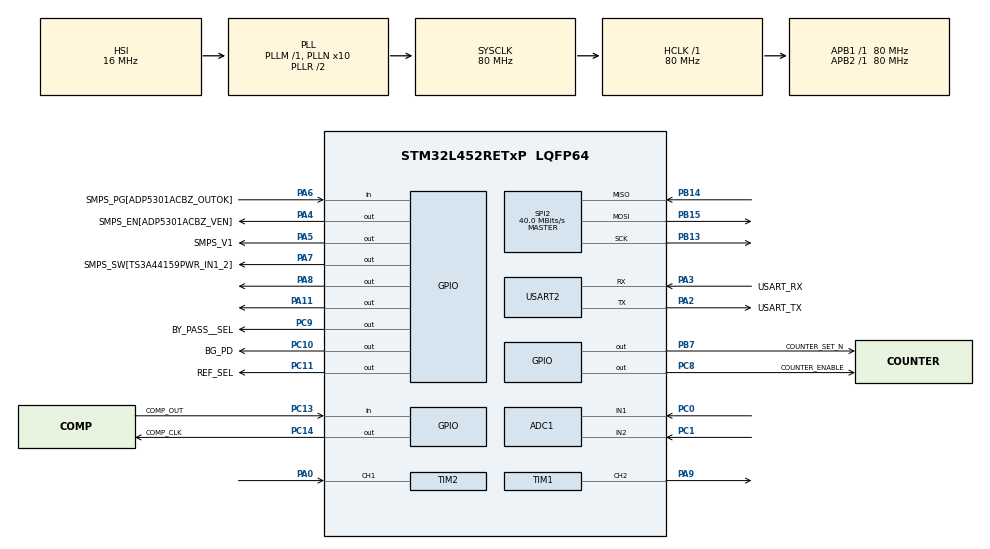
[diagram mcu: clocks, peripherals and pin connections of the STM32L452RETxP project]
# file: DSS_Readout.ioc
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ADC1.Channel-0\#ChannelRegularConversion=ADC_CHANNEL_1
ADC1.Channel-1\#ChannelRegularConversion=ADC_CHANNEL_2
ADC1.ContinuousConvMode=ENABLE
ADC1.DMAContinuousRequests=ENABLE
ADC1.NbrOfConversion=2
ADC1.NbrOfConversionFlag=1
ADC1.OffsetNumber-0\#ChannelRegularConversion=ADC_OFFSET_NONE
ADC1.OffsetNumber-1\#ChannelRegularConversion=ADC_OFFSET_NONE
ADC1.Rank-0\#ChannelRegularConversion=1
ADC1.Rank-1\#ChannelRegularConversion=2
ADC1.SamplingTime-0\#ChannelRegularConversion=ADC_SAMPLETIME_2CYCLES_5
ADC1.SamplingTime-1\#ChannelRegularConversion=ADC_SAMPLETIME_2CYCLES_5
ADC1.master=1
Dma.ADC1.0.Direction=DMA_PERIPH_TO_MEMORY
Dma.ADC1.0.Instance=DMA1_Channel1
Dma.ADC1.0.MemDataAlignment=DMA_MDATAALIGN_HALFWORD
Dma.ADC1.0.MemInc=DMA_MINC_ENABLE
Dma.ADC1.0.Mode=DMA_CIRCULAR
Dma.ADC1.0.PeriphDataAlignment=DMA_PDATAALIGN_HALFWORD
Dma.ADC1.0.PeriphInc=DMA_PINC_DISABLE
Dma.ADC1.0.Priority=DMA_PRIORITY_LOW
Dma.Request0=ADC1
Dma.Request1=TIM2_CH1
Dma.Request2=TIM2_CH2/CH4
Dma.TIM2_CH1.1.Direction=DMA_PERIPH_TO_MEMORY
Dma.TIM2_CH1.1.Instance=DMA1_Channel5
Dma.TIM2_CH1.1.MemDataAlignment=DMA_MDATAALIGN_WORD
Dma.TIM2_CH1.1.MemInc=DMA_MINC_ENABLE
Dma.TIM2_CH1.1.Mode=DMA_CIRCULAR
Dma.TIM2_CH1.1.PeriphDataAlignment=DMA_PDATAALIGN_WORD
Dma.TIM2_CH1.1.PeriphInc=DMA_PINC_DISABLE
Dma.TIM2_CH1.1.Priority=DMA_PRIORITY_LOW
Dma.TIM2_CH2/CH4.2.Direction=DMA_PERIPH_TO_MEMORY
Dma.TIM2_CH2/CH4.2.Instance=DMA1_Channel7
Dma.TIM2_CH2/CH4.2.MemDataAlignment=DMA_MDATAALIGN_WORD
Dma.TIM2_CH2/CH4.2.MemInc=DMA_MINC_ENABLE
Dma.TIM2_CH2/CH4.2.Mode=DMA_CIRCULAR
Dma.TIM2_CH2/CH4.2.PeriphDataAlignment=DMA_PDATAALIGN_WORD
Dma.TIM2_CH2/CH4.2.PeriphInc=DMA_PINC_DISABLE
Dma.TIM2_CH2/CH4.2.Priority=DMA_PRIORITY_LOW
Mcu.Family=STM32L4
Mcu.Name=STM32L452RETxP
Mcu.Package=LQFP64
NVIC.DMA1_Channel1_IRQn=true\:0\:0\:false\:false\:true\:false\:true\:true
NVIC.DMA1_Channel5_IRQn=true\:0\:0\:false\:false\:true\:false\:true\:true
NVIC.DMA1_Channel7_IRQn=true\:0\:0\:false\:false\:true\:false\:true\:true
NVIC.PriorityGroup=NVIC_PRIORITYGROUP_4
PA0.Signal=S_TIM2_CH1
PA11.GPIO_PuPd=GPIO_PULLDOWN
PA11.Signal=GPIO_Output
PA13\ (JTMS/SWDIO).Mode=Serial_Wire
PA13\ (JTMS/SWDIO).Signal=SYS_JTMS-SWDIO
PA14\ (JTCK/SWCLK).Mode=Serial_Wire
PA14\ (JTCK/SWCLK).Signal=SYS_JTCK-SWCLK
PA2.GPIO_Label=USART_TX
PA2.GPIO_Mode=GPIO_MODE_AF_PP
PA2.GPIO_PuPd=GPIO_NOPULL
PA2.GPIO_Speed=GPIO_SPEED_FREQ_VERY_HIGH
PA2.Mode=Asynchronous
PA2.Signal=USART2_TX
PA3.GPIO_Label=USART_RX
PA3.GPIO_Mode=GPIO_MODE_AF_PP
PA3.GPIO_PuPd=GPIO_NOPULL
PA3.GPIO_Speed=GPIO_SPEED_FREQ_VERY_HIGH
PA3.Mode=Asynchronous
PA3.Signal=USART2_RX
PA4.GPIO_Label=SMPS_EN[ADP5301ACBZ_VEN]
PA4.Signal=GPIO_Output
PA5.GPIO_Label=SMPS_V1
PA5.Signal=GPIO_Output
PA6.GPIO_Label=SMPS_PG[ADP5301ACBZ_OUTOK]
PA6.GPIO_PuPd=GPIO_PULLUP
PA6.Signal=GPIO_Input
PA7.GPIO_Label=SMPS_SW[TS3A44159PWR_IN1_2]
PA7.Signal=GPIO_Output
PA8.Signal=GPIO_Output
PA9.Signal=S_TIM1_CH2
PB12.Signal=SPI2_NSS
PB13.Mode=Full_Duplex_Master
PB13.Signal=SPI2_SCK
PB14.Mode=Full_Duplex_Master
PB14.Signal=SPI2_MISO
PB15.Mode=Full_Duplex_Master
PB15.Signal=SPI2_MOSI
PB7.GPIO_Label=COUNTER_SET_N
PB7.GPIO_PuPd=GPIO_PULLDOWN
PB7.Signal=GPIO_Output
PC0.Signal=ADCx_IN1
PC1.Signal=ADCx_IN2
PC10.GPIO_Label=BG_PD
PC10.GPIO_PuPd=GPIO_PULLUP
PC10.Signal=GPIO_Output
PC11.GPIO_Label=REF_SEL
PC11.GPIO_PuPd=GPIO_PULLDOWN
PC11.Signal=GPIO_Output
PC13.GPIO_Label=COMP_OUT
PC13.GPIO_PuPd=GPIO_PULLDOWN
PC13.Signal=GPIO_Input
PC14-OSC32_IN\ (PC14).GPIO_Label=COMP_CLK
PC14-OSC32_IN\ (PC14).GPIO_PuPd=GPIO_PULLDOWN
PC14-OSC32_IN\ (PC14).Signal=GPIO_Output
PC8.GPIO_Label=COUNTER_ENABLE
PC8.GPIO_PuPd=GPIO_PULLUP
PC8.Signal=GPIO_Output
PC9.GPIO_Label=BY_PASS__SEL
PC9.GPIO_PuPd=GPIO_PULLDOWN
PC9.Signal=GPIO_Output
ProjectManager.HeapSize=0x200
ProjectManager.StackSize=0x400
ProjectManager.TargetToolchain=STM32CubeIDE
RCC.ADCFreq_Value=64000000
RCC.AHBFreq_Value=80000000
RCC.APB1Freq_Value=80000000
RCC.APB1TimFreq_Value=80000000
RCC.APB2Freq_Value=80000000
RCC.APB2TimFreq_Value=80000000
RCC.CortexFreq_Value=80000000
RCC.HCLKFreq_Value=80000000
RCC.HSE_VALUE=8000000
RCC.HSI48_VALUE=48000000
RCC.HSI_VALUE=16000000
RCC.LSE_VALUE=32768
RCC.MSI_VALUE=4000000
RCC.PLLN=10
RCC.PLLSourceVirtual=RCC_PLLSOURCE_HSI
RCC.SYSCLKFreq_VALUE=80000000
RCC.SYSCLKSource=RCC_SYSCLKSOURCE_PLLCLK
RCC.USBFreq_Value=64000000
RCC.VCOOutputFreq_Value=160000000
SH.ADCx_IN1.0=ADC1_IN1,IN1-Single-Ended
SH.ADCx_IN2.0=ADC1_IN2,IN2-Single-Ended
SH.S_TIM1_CH2.0=TIM1_CH2,PWM Generation2 CH2
SH.S_TIM2_CH1.0=TIM2_CH1,Input_Capture1_from_TI1
SPI2.CalculateBaudRate=40.0 MBits/s
SPI2.DataSize=SPI_DATASIZE_16BIT
SPI2.Direction=SPI_DIRECTION_2LINES
SPI2.Mode=SPI_MODE_MASTER
SPI2.VirtualType=VM_MASTER
TIM1.Channel-PWM\ Generation2\ CH2=TIM_CHANNEL_2
TIM1.TIM_MasterOutputTrigger=TIM_TRGO_UPDATE
TIM1.TIM_MasterSlaveMode=TIM_MASTERSLAVEMODE_DISABLE
TIM2.Channel-Input_Capture1_from_TI1=TIM_CHANNEL_1
TIM2.Channel-Input_Capture2_from_TI1_63=TIM_CHANNEL_2
TIM2.ICPolarity_CH2=TIM_INPUTCHANNELPOLARITY_FALLING
TIM2.Period=4294967295
TIM2.Prescaler=0
USART2.VirtualMode-Asynchronous=VM_ASYNC
VP_TIM1_VS_ClockSourceINT.Mode=Internal
VP_TIM2_VS_ClockSourceINT.Mode=Internal
VP_TIM2_VS_ClockSourceITR.Mode=TriggerSource_ITR0
VP_TIM2_VS_ControllerModeReset.Mode=Reset Mode
VP_TIM2_VS_indirect_ch1.Mode=Input_Capture2_from_TI1_63
board=NUCLEO-L452RE-P

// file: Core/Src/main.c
/* USER CODE BEGIN Header */
/**
  ******************************************************************************
  * @file           : main.c
  * @brief          : Main program body
  ******************************************************************************
  * @attention
  *
  * Copyright (c) 2023 STMicroelectronics.
  * All rights reserved.
  *
  * This software is licensed under terms that can be found in the LICENSE file
  * in the root directory of this software component.
  * If no LICENSE file comes with this software, it is provided AS-IS.
  *
  ******************************************************************************
  */
/* USER CODE END Header */
#include "main.h"

/* USER CODE BEGIN Includes */
#include "stdio.h"
/* USER CODE END Includes */

/* USER CODE BEGIN PD */
#define TIMCLOCK   80000000
#define PSCALAR    0
#define numval   500

#define MIN(a,b) ((a) < (b) ? (a) : (b))

#define ADC_CONVERTED_DATA_BUFFER_SIZE   ((uint32_t)  32)   /* Size of array aADCxConvertedData[] */
#define Vref 1.8
#define MF_size 9

/* USER CODE END PD */

ADC_HandleTypeDef hadc1;
DMA_HandleTypeDef hdma_adc1;

SPI_HandleTypeDef hspi2;

TIM_HandleTypeDef htim1;
TIM_HandleTypeDef htim2;
DMA_HandleTypeDef hdma_tim2_ch1;
DMA_HandleTypeDef hdma_tim2_ch2_ch4;

UART_HandleTypeDef huart2;

/* USER CODE BEGIN PV */
int i;
int j = 0;
float refClock = TIMCLOCK/(PSCALAR+1);

int riseCaptured = 0;
int fallCaptured = 0;

uint32_t riseData[numval];
uint32_t fallData[numval];

float MF_freq[MF_size];
float frequency = 0;
float frequency_r = 0;
float width = 0;
float riseavg_r = 0;
float AMP = 0;
float Pressure = 0;

int isMeasured = 0;
static uint16_t   aADCxConvertedData[ADC_CONVERTED_DATA_BUFFER_SIZE];
static float ADC_Voltage[ADC_CONVERTED_DATA_BUFFER_SIZE/2];
float LSB = Vref/4096;

uint32_t startCycle, endCycle;
uint32_t executionTime;
float time = 0;
uint16_t DSS_IDAC_CONTROL_1[2] = {0x0000, 0x0100};

/* USER CODE END PV */

void SystemClock_Config(void);
static void MX_GPIO_Init(void);
static void MX_DMA_Init(void);
static void MX_USART2_UART_Init(void);
static void MX_ADC1_Init(void);
static void MX_TIM2_Init(void);
static void MX_TIM1_Init(void);
static void MX_SPI2_Init(void);
/* USER CODE BEGIN PFP */
float medianFilter(float data[], int size);
float FIR_Filter(float data[], int size);
//void SPI_Write(uint16_t val);
//static void SPI_Tx(uint8_t data);
/* USER CODE END PFP */

/* USER CODE BEGIN 0 */
#ifdef __GNUC__
  #define PUTCHAR_PROTOTYPE int __io_putchar(int ch)
#else
  #define PUTCHAR_PROTOTYPE int fputc(int ch, FILE *f)
#endif /* __GNUC__ */

PUTCHAR_PROTOTYPE
{
	HAL_UART_Transmit(&huart2, (uint8_t *)&ch, 1, 0xFFFF);
	return ch;
}

/* USER CODE END 0 */

int main(void)
{

  /* MCU Configuration--------------------------------------------------------*/

  /* Reset of all peripherals, Initializes the Flash interface and the Systick. */
  HAL_Init();

  /* Configure the system clock */
  SystemClock_Config();

  /* Initialize all configured peripherals */
  MX_GPIO_Init();
  MX_DMA_Init();
  MX_USART2_UART_Init();
  MX_ADC1_Init();
  MX_TIM2_Init();
  MX_TIM1_Init();
  MX_SPI2_Init();
  /* USER CODE BEGIN 2 */
  HAL_TIM_PWM_Start(&htim1, TIM_CHANNEL_1);
  /* TIM2 Channel 1 is set to rising edge, so it will store the data in 'riseData' */
  HAL_TIM_IC_Start_DMA(&htim2, TIM_CHANNEL_1, riseData, numval);

  /* TIM2 Channel 2 is set to falling edge, so it will store the data in 'fallData' */
  HAL_TIM_IC_Start_DMA(&htim2, TIM_CHANNEL_2, fallData, numval);

  if (HAL_ADCEx_Calibration_Start(&hadc1, ADC_SINGLE_ENDED) !=  HAL_OK)
  {
	Error_Handler();
  }
  if (HAL_ADC_Start_DMA(&hadc1,
						(uint32_t *)aADCxConvertedData,
						ADC_CONVERTED_DATA_BUFFER_SIZE
					   ) != HAL_OK)
  {
	Error_Handler();
  }

  DWT->CTRL |= DWT_CTRL_CYCCNTENA_Msk;
  for(i=0;i<MF_size;i++){
	  MF_freq[i] = 0;
  }

//  HAL_GPIO_WritePin(GPIOA, GPIO_PIN_8, RESET);
//  HAL_SPI_Transmit(&hspi2, (uint8_t* )(DSS_IDAC_CONTROL_1), 1, 100);
//  HAL_GPIO_WritePin(GPIOA, GPIO_PIN_8, SET);
  /* USER CODE END 2 */

  /* Infinite loop */
  /* USER CODE BEGIN WHILE */
  while (1)
  {
	  startCycle = DWT->CYCCNT;
	  int indxr = 0;
	  int countr = 0;
	  float riseavg = 0;
	  float AVER_AMP = 0;

//	  increment the index until some useful data shows up

	  while (riseData[indxr] == 0) indxr++;
	  while ((MIN((riseData[indxr+1]-riseData[indxr]), (riseData[indxr+2]-riseData[indxr+1]))) == 0) indxr++;
	  while ((MIN((riseData[indxr+1]-riseData[indxr]), (riseData[indxr+2]-riseData[indxr+1]))) >= 100) indxr++;
	/* riseavg is the difference in the 2 consecutive rise Time */

	/* Assign a start value to riseavg */
	  riseavg += MIN((riseData[indxr+1]-riseData[indxr]), (riseData[indxr+2]-riseData[indxr+1]));

	  indxr++;
	  countr++;

	/* start adding the values to the riseavg */
	  while (indxr < (numval)-1)
	  {
		  riseavg += MIN((riseData[indxr+1]-riseData[indxr]), riseavg/countr);
		  countr++;
		  indxr++;
	  }

	/* Find the average riseavg, the average time between 2 RISE */
	  riseavg = riseavg/countr;

	  indxr = 0;

	  if(j < 9){
		  if(riseavg < 100 && riseavg > 0){
			  MF_freq[j] = (refClock/(float)riseavg);
			  j++;
		  }
	  }
	  else
	  {
		  for(i=0; i<32; i++){

			  if(i%2) Pressure = aADCxConvertedData[i]*LSB;
			  else ADC_Voltage[i/2] = aADCxConvertedData[i]*LSB;

		  }
	//		frequency = 2*medianFilter(MF_freq, 9);
		  frequency = 2*medianFilter(MF_freq, MF_size);
		  AVER_AMP = FIR_Filter(ADC_Voltage, ADC_CONVERTED_DATA_BUFFER_SIZE/2);
		  printf("%f ", frequency);
		  printf("%f ", AVER_AMP);
		  printf("%f \r\n", Pressure);
		  AMP = AVER_AMP;
		  HAL_Delay(1000);
		  j = 0;

		}
	endCycle = DWT->CYCCNT;
	executionTime = endCycle - startCycle;
	time = (executionTime/TIMCLOCK);

    /* USER CODE END WHILE */

  }
}

void SystemClock_Config(void)
{
  RCC_OscInitTypeDef RCC_OscInitStruct = {0};
  RCC_ClkInitTypeDef RCC_ClkInitStruct = {0};

  /** Configure the main internal regulator output voltage
  */
  if (HAL_PWREx_ControlVoltageScaling(PWR_REGULATOR_VOLTAGE_SCALE1) != HAL_OK)
  {
    Error_Handler();
  }

  /** Initializes the RCC Oscillators according to the specified parameters
  * in the RCC_OscInitTypeDef structure.
  */
  RCC_OscInitStruct.OscillatorType = RCC_OSCILLATORTYPE_HSI;
  RCC_OscInitStruct.HSIState = RCC_HSI_ON;
  RCC_OscInitStruct.HSICalibrationValue = RCC_HSICALIBRATION_DEFAULT;
  RCC_OscInitStruct.PLL.PLLState = RCC_PLL_ON;
  RCC_OscInitStruct.PLL.PLLSource = RCC_PLLSOURCE_HSI;
  RCC_OscInitStruct.PLL.PLLM = 1;
  RCC_OscInitStruct.PLL.PLLN = 10;
  RCC_OscInitStruct.PLL.PLLP = RCC_PLLP_DIV7;
  RCC_OscInitStruct.PLL.PLLQ = RCC_PLLQ_DIV2;
  RCC_OscInitStruct.PLL.PLLR = RCC_PLLR_DIV2;
  if (HAL_RCC_OscConfig(&RCC_OscInitStruct) != HAL_OK)
  {
    Error_Handler();
  }

  /** Initializes the CPU, AHB and APB buses clocks
  */
  RCC_ClkInitStruct.ClockType = RCC_CLOCKTYPE_HCLK|RCC_CLOCKTYPE_SYSCLK
                              |RCC_CLOCKTYPE_PCLK1|RCC_CLOCKTYPE_PCLK2;
  RCC_ClkInitStruct.SYSCLKSource = RCC_SYSCLKSOURCE_PLLCLK;
  RCC_ClkInitStruct.AHBCLKDivider = RCC_SYSCLK_DIV1;
  RCC_ClkInitStruct.APB1CLKDivider = RCC_HCLK_DIV1;
  RCC_ClkInitStruct.APB2CLKDivider = RCC_HCLK_DIV1;

  if (HAL_RCC_ClockConfig(&RCC_ClkInitStruct, FLASH_LATENCY_4) != HAL_OK)
  {
    Error_Handler();
  }
}

static void MX_ADC1_Init(void)
{

  ADC_ChannelConfTypeDef sConfig = {0};

  /** Common config
  */
  hadc1.Instance = ADC1;
  hadc1.Init.ClockPrescaler = ADC_CLOCK_ASYNC_DIV1;
  hadc1.Init.Resolution = ADC_RESOLUTION_12B;
  hadc1.Init.DataAlign = ADC_DATAALIGN_RIGHT;
  hadc1.Init.ScanConvMode = ADC_SCAN_ENABLE;
  hadc1.Init.EOCSelection = ADC_EOC_SINGLE_CONV;
  hadc1.Init.LowPowerAutoWait = DISABLE;
  hadc1.Init.ContinuousConvMode = ENABLE;
  hadc1.Init.NbrOfConversion = 2;
  hadc1.Init.DiscontinuousConvMode = DISABLE;
  hadc1.Init.ExternalTrigConv = ADC_SOFTWARE_START;
  hadc1.Init.ExternalTrigConvEdge = ADC_EXTERNALTRIGCONVEDGE_NONE;
  hadc1.Init.DMAContinuousRequests = ENABLE;
  hadc1.Init.Overrun = ADC_OVR_DATA_PRESERVED;
  hadc1.Init.OversamplingMode = DISABLE;
  hadc1.Init.DFSDMConfig = ADC_DFSDM_MODE_ENABLE;
  if (HAL_ADC_Init(&hadc1) != HAL_OK)
  {
    Error_Handler();
  }

  /** Configure Regular Channel
  */
  sConfig.Channel = ADC_CHANNEL_1;
  sConfig.Rank = ADC_REGULAR_RANK_1;
  sConfig.SamplingTime = ADC_SAMPLETIME_2CYCLES_5;
  sConfig.SingleDiff = ADC_SINGLE_ENDED;
  sConfig.OffsetNumber = ADC_OFFSET_NONE;
  sConfig.Offset = 0;
  if (HAL_ADC_ConfigChannel(&hadc1, &sConfig) != HAL_OK)
  {
    Error_Handler();
  }

  /** Configure Regular Channel
  */
  sConfig.Channel = ADC_CHANNEL_2;
  sConfig.Rank = ADC_REGULAR_RANK_2;
  if (HAL_ADC_ConfigChannel(&hadc1, &sConfig) != HAL_OK)
  {
    Error_Handler();
  }

}

static void MX_SPI2_Init(void)
{

  /* SPI2 parameter configuration*/
  hspi2.Instance = SPI2;
  hspi2.Init.Mode = SPI_MODE_MASTER;
  hspi2.Init.Direction = SPI_DIRECTION_2LINES;
  hspi2.Init.DataSize = SPI_DATASIZE_16BIT;
  hspi2.Init.CLKPolarity = SPI_POLARITY_LOW;
  hspi2.Init.CLKPhase = SPI_PHASE_1EDGE;
  hspi2.Init.NSS = SPI_NSS_SOFT;
  hspi2.Init.BaudRatePrescaler = SPI_BAUDRATEPRESCALER_2;
  hspi2.Init.FirstBit = SPI_FIRSTBIT_MSB;
  hspi2.Init.TIMode = SPI_TIMODE_DISABLE;
  hspi2.Init.CRCCalculation = SPI_CRCCALCULATION_DISABLE;
  hspi2.Init.CRCPolynomial = 7;
  hspi2.Init.CRCLength = SPI_CRC_LENGTH_DATASIZE;
  hspi2.Init.NSSPMode = SPI_NSS_PULSE_ENABLE;
  if (HAL_SPI_Init(&hspi2) != HAL_OK)
  {
    Error_Handler();
  }

}

static void MX_TIM1_Init(void)
{

  TIM_ClockConfigTypeDef sClockSourceConfig = {0};
  TIM_MasterConfigTypeDef sMasterConfig = {0};
  TIM_OC_InitTypeDef sConfigOC = {0};
  TIM_BreakDeadTimeConfigTypeDef sBreakDeadTimeConfig = {0};

  htim1.Instance = TIM1;
  htim1.Init.Prescaler = 0;
  htim1.Init.CounterMode = TIM_COUNTERMODE_UP;
  htim1.Init.Period = 65535;
  htim1.Init.ClockDivision = TIM_CLOCKDIVISION_DIV1;
  htim1.Init.RepetitionCounter = 0;
  htim1.Init.AutoReloadPreload = TIM_AUTORELOAD_PRELOAD_DISABLE;
  if (HAL_TIM_Base_Init(&htim1) != HAL_OK)
  {
    Error_Handler();
  }
  sClockSourceConfig.ClockSource = TIM_CLOCKSOURCE_INTERNAL;
  if (HAL_TIM_ConfigClockSource(&htim1, &sClockSourceConfig) != HAL_OK)
  {
    Error_Handler();
  }
  if (HAL_TIM_PWM_Init(&htim1) != HAL_OK)
  {
    Error_Handler();
  }
  sMasterConfig.MasterOutputTrigger = TIM_TRGO_UPDATE;
  sMasterConfig.MasterOutputTrigger2 = TIM_TRGO2_RESET;
  sMasterConfig.MasterSlaveMode = TIM_MASTERSLAVEMODE_DISABLE;
  if (HAL_TIMEx_MasterConfigSynchronization(&htim1, &sMasterConfig) != HAL_OK)
  {
    Error_Handler();
  }
  sConfigOC.OCMode = TIM_OCMODE_PWM1;
  sConfigOC.Pulse = 0;
  sConfigOC.OCPolarity = TIM_OCPOLARITY_HIGH;
  sConfigOC.OCNPolarity = TIM_OCNPOLARITY_HIGH;
  sConfigOC.OCFastMode = TIM_OCFAST_DISABLE;
  sConfigOC.OCIdleState = TIM_OCIDLESTATE_RESET;
  sConfigOC.OCNIdleState = TIM_OCNIDLESTATE_RESET;
  if (HAL_TIM_PWM_ConfigChannel(&htim1, &sConfigOC, TIM_CHANNEL_2) != HAL_OK)
  {
    Error_Handler();
  }
  sBreakDeadTimeConfig.OffStateRunMode = TIM_OSSR_DISABLE;
  sBreakDeadTimeConfig.OffStateIDLEMode = TIM_OSSI_DISABLE;
  sBreakDeadTimeConfig.LockLevel = TIM_LOCKLEVEL_OFF;
  sBreakDeadTimeConfig.DeadTime = 0;
  sBreakDeadTimeConfig.BreakState = TIM_BREAK_DISABLE;
  sBreakDeadTimeConfig.BreakPolarity = TIM_BREAKPOLARITY_HIGH;
  sBreakDeadTimeConfig.BreakFilter = 0;
  sBreakDeadTimeConfig.Break2State = TIM_BREAK2_DISABLE;
  sBreakDeadTimeConfig.Break2Polarity = TIM_BREAK2POLARITY_HIGH;
  sBreakDeadTimeConfig.Break2Filter = 0;
  sBreakDeadTimeConfig.AutomaticOutput = TIM_AUTOMATICOUTPUT_DISABLE;
  if (HAL_TIMEx_ConfigBreakDeadTime(&htim1, &sBreakDeadTimeConfig) != HAL_OK)
  {
    Error_Handler();
  }
  HAL_TIM_MspPostInit(&htim1);

}

static void MX_TIM2_Init(void)
{

  TIM_ClockConfigTypeDef sClockSourceConfig = {0};
  TIM_SlaveConfigTypeDef sSlaveConfig = {0};
  TIM_MasterConfigTypeDef sMasterConfig = {0};
  TIM_IC_InitTypeDef sConfigIC = {0};

  htim2.Instance = TIM2;
  htim2.Init.Prescaler = 0;
  htim2.Init.CounterMode = TIM_COUNTERMODE_UP;
  htim2.Init.Period = 4294967295;
  htim2.Init.ClockDivision = TIM_CLOCKDIVISION_DIV1;
  htim2.Init.AutoReloadPreload = TIM_AUTORELOAD_PRELOAD_DISABLE;
  if (HAL_TIM_Base_Init(&htim2) != HAL_OK)
  {
    Error_Handler();
  }
  sClockSourceConfig.ClockSource = TIM_CLOCKSOURCE_INTERNAL;
  if (HAL_TIM_ConfigClockSource(&htim2, &sClockSourceConfig) != HAL_OK)
  {
    Error_Handler();
  }
  if (HAL_TIM_IC_Init(&htim2) != HAL_OK)
  {
    Error_Handler();
  }
  sSlaveConfig.SlaveMode = TIM_SLAVEMODE_RESET;
  sSlaveConfig.InputTrigger = TIM_TS_ITR0;
  if (HAL_TIM_SlaveConfigSynchro(&htim2, &sSlaveConfig) != HAL_OK)
  {
    Error_Handler();
  }
  sMasterConfig.MasterOutputTrigger = TIM_TRGO_RESET;
  sMasterConfig.MasterSlaveMode = TIM_MASTERSLAVEMODE_DISABLE;
  if (HAL_TIMEx_MasterConfigSynchronization(&htim2, &sMasterConfig) != HAL_OK)
  {
    Error_Handler();
  }
  sConfigIC.ICPolarity = TIM_INPUTCHANNELPOLARITY_RISING;
  sConfigIC.ICSelection = TIM_ICSELECTION_DIRECTTI;
  sConfigIC.ICPrescaler = TIM_ICPSC_DIV1;
  sConfigIC.ICFilter = 0;
  if (HAL_TIM_IC_ConfigChannel(&htim2, &sConfigIC, TIM_CHANNEL_1) != HAL_OK)
  {
    Error_Handler();
  }
  sConfigIC.ICPolarity = TIM_INPUTCHANNELPOLARITY_FALLING;
  sConfigIC.ICSelection = TIM_ICSELECTION_INDIRECTTI;
  if (HAL_TIM_IC_ConfigChannel(&htim2, &sConfigIC, TIM_CHANNEL_2) != HAL_OK)
  {
    Error_Handler();
  }

}

static void MX_USART2_UART_Init(void)
{

  huart2.Instance = USART2;
  huart2.Init.BaudRate = 115200;
  huart2.Init.WordLength = UART_WORDLENGTH_8B;
  huart2.Init.StopBits = UART_STOPBITS_1;
  huart2.Init.Parity = UART_PARITY_NONE;
  huart2.Init.Mode = UART_MODE_TX_RX;
  huart2.Init.HwFlowCtl = UART_HWCONTROL_NONE;
  huart2.Init.OverSampling = UART_OVERSAMPLING_16;
  huart2.Init.OneBitSampling = UART_ONE_BIT_SAMPLE_DISABLE;
  huart2.AdvancedInit.AdvFeatureInit = UART_ADVFEATURE_NO_INIT;
  if (HAL_UART_Init(&huart2) != HAL_OK)
  {
    Error_Handler();
  }

}

static void MX_DMA_Init(void)
{

  /* DMA controller clock enable */
  __HAL_RCC_DMA1_CLK_ENABLE();

  /* DMA interrupt init */
  /* DMA1_Channel1_IRQn interrupt configuration */
  HAL_NVIC_SetPriority(DMA1_Channel1_IRQn, 0, 0);
  HAL_NVIC_EnableIRQ(DMA1_Channel1_IRQn);
  /* DMA1_Channel5_IRQn interrupt configuration */
  HAL_NVIC_SetPriority(DMA1_Channel5_IRQn, 0, 0);
  HAL_NVIC_EnableIRQ(DMA1_Channel5_IRQn);
  /* DMA1_Channel7_IRQn interrupt configuration */
  HAL_NVIC_SetPriority(DMA1_Channel7_IRQn, 0, 0);
  HAL_NVIC_EnableIRQ(DMA1_Channel7_IRQn);

}

static void MX_GPIO_Init(void)
{
  GPIO_InitTypeDef GPIO_InitStruct = {0};

  /* GPIO Ports Clock Enable */
  __HAL_RCC_GPIOC_CLK_ENABLE();
  __HAL_RCC_GPIOA_CLK_ENABLE();
  __HAL_RCC_GPIOB_CLK_ENABLE();

  /*Configure GPIO pin Output Level */
  HAL_GPIO_WritePin(GPIOC, COMP_CLK_Pin|COUNTER_ENABLE_Pin|BY_PASS__SEL_Pin|BG_PD_Pin
                          |REF_SEL_Pin, GPIO_PIN_RESET);

  /*Configure GPIO pin Output Level */
  HAL_GPIO_WritePin(GPIOA, SMPS_EN_Pin|SMPS_V1_Pin|SMPS_SW_Pin|GPIO_PIN_8
                          |GPIO_PIN_11, GPIO_PIN_RESET);

  /*Configure GPIO pin Output Level */
  HAL_GPIO_WritePin(COUNTER_SET_N_GPIO_Port, COUNTER_SET_N_Pin, GPIO_PIN_RESET);

  /*Configure GPIO pin : COMP_OUT_Pin */
  GPIO_InitStruct.Pin = COMP_OUT_Pin;
  GPIO_InitStruct.Mode = GPIO_MODE_INPUT;
  GPIO_InitStruct.Pull = GPIO_PULLDOWN;
  HAL_GPIO_Init(COMP_OUT_GPIO_Port, &GPIO_InitStruct);

  /*Configure GPIO pins : COMP_CLK_Pin BY_PASS__SEL_Pin REF_SEL_Pin */
  GPIO_InitStruct.Pin = COMP_CLK_Pin|BY_PASS__SEL_Pin|REF_SEL_Pin;
  GPIO_InitStruct.Mode = GPIO_MODE_OUTPUT_PP;
  GPIO_InitStruct.Pull = GPIO_PULLDOWN;
  GPIO_InitStruct.Speed = GPIO_SPEED_FREQ_LOW;
  HAL_GPIO_Init(GPIOC, &GPIO_InitStruct);

  /*Configure GPIO pins : SMPS_EN_Pin SMPS_V1_Pin SMPS_SW_Pin PA8 */
  GPIO_InitStruct.Pin = SMPS_EN_Pin|SMPS_V1_Pin|SMPS_SW_Pin|GPIO_PIN_8;
  GPIO_InitStruct.Mode = GPIO_MODE_OUTPUT_PP;
  GPIO_InitStruct.Pull = GPIO_NOPULL;
  GPIO_InitStruct.Speed = GPIO_SPEED_FREQ_LOW;
  HAL_GPIO_Init(GPIOA, &GPIO_InitStruct);

  /*Configure GPIO pin : SMPS_PG_Pin */
  GPIO_InitStruct.Pin = SMPS_PG_Pin;
  GPIO_InitStruct.Mode = GPIO_MODE_INPUT;
  GPIO_InitStruct.Pull = GPIO_PULLUP;
  HAL_GPIO_Init(SMPS_PG_GPIO_Port, &GPIO_InitStruct);

  /*Configure GPIO pins : COUNTER_ENABLE_Pin BG_PD_Pin */
  GPIO_InitStruct.Pin = COUNTER_ENABLE_Pin|BG_PD_Pin;
  GPIO_InitStruct.Mode = GPIO_MODE_OUTPUT_PP;
  GPIO_InitStruct.Pull = GPIO_PULLUP;
  GPIO_InitStruct.Speed = GPIO_SPEED_FREQ_LOW;
  HAL_GPIO_Init(GPIOC, &GPIO_InitStruct);

  /*Configure GPIO pin : PA11 */
  GPIO_InitStruct.Pin = GPIO_PIN_11;
  GPIO_InitStruct.Mode = GPIO_MODE_OUTPUT_PP;
  GPIO_InitStruct.Pull = GPIO_PULLDOWN;
  GPIO_InitStruct.Speed = GPIO_SPEED_FREQ_LOW;
  HAL_GPIO_Init(GPIOA, &GPIO_InitStruct);

  /*Configure GPIO pin : COUNTER_SET_N_Pin */
  GPIO_InitStruct.Pin = COUNTER_SET_N_Pin;
  GPIO_InitStruct.Mode = GPIO_MODE_OUTPUT_PP;
  GPIO_InitStruct.Pull = GPIO_PULLDOWN;
  GPIO_InitStruct.Speed = GPIO_SPEED_FREQ_LOW;
  HAL_GPIO_Init(COUNTER_SET_N_GPIO_Port, &GPIO_InitStruct);

}

/* USER CODE BEGIN 4 */
float medianFilter(float data[], int size) {
    int compare_result[size];
    float result = 0;
    for(int i=0; i<size; i++){
    	compare_result[i] = 0;
    }
    for (int i = 0; i < size; i++) {
    	for(int j=i+1; j<size; j++){
    		if(data[i]>data[j])compare_result[i] += 1;
    		else compare_result[j] += 1;
    	}
    }
    for(int i=0; i<size; i++){
    	if(compare_result[i]== (size/2)) result = data[i];
    }

    return result;
}

float FIR_Filter(float data[], int size) {
    float result = 0;
    for(i=0; i<size; i++){
    	result = result + data[i]/size;
    }

    return result;
}

//void SPI_Write(uint16_t val)
//{
//  /* check TXE flag */
//  while((hspi2.Instance->SR & SPI_FLAG_TXE) != SPI_FLAG_TXE);
//
//  /* Write the data */
//  *((__IO uint16_t*)&hspi2.Instance->DR) = val;
//
//  /* Wait BSY flag */
//  while((hspi2.Instance->SR & SPI_FLAG_FTLVL) != SPI_FTLVL_EMPTY);
//  while((hspi2.Instance->SR & SPI_FLAG_BSY) == SPI_FLAG_BSY);
//}

/* USER CODE END 4 */

void Error_Handler(void)
{
  __disable_irq();
  while (1)
  {
  }
}
